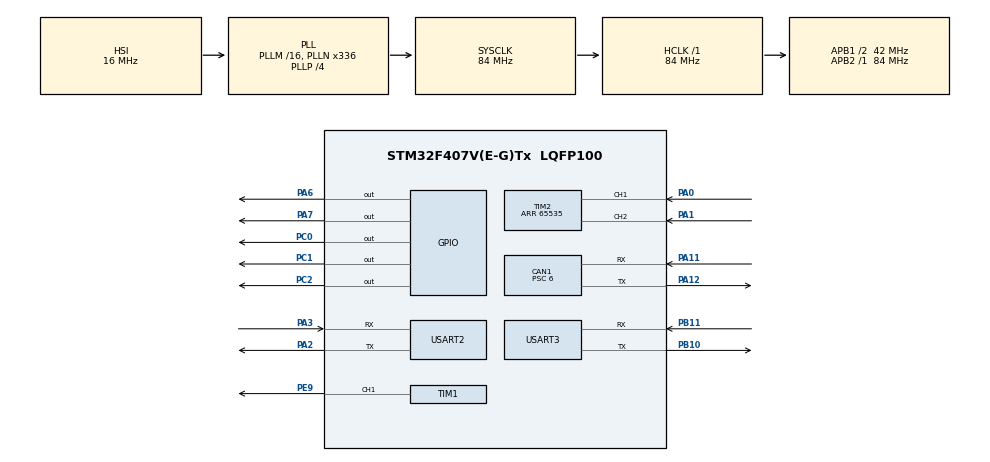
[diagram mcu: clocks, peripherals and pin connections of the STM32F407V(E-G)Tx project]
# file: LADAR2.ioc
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CAN1.ABOM=ENABLE
CAN1.BS1=CAN_BS1_11TQ
CAN1.BS2=CAN_BS2_2TQ
CAN1.CalculateBaudRate=500000
CAN1.CalculateTimeBit=2000
CAN1.CalculateTimeQuantum=142.85714285714286
CAN1.NART=ENABLE
CAN1.Prescaler=6
Dma.Request0=USART2_RX
Dma.Request1=USART2_TX
Dma.USART2_RX.0.Direction=DMA_PERIPH_TO_MEMORY
Dma.USART2_RX.0.FIFOMode=DMA_FIFOMODE_DISABLE
Dma.USART2_RX.0.Instance=DMA1_Stream5
Dma.USART2_RX.0.MemDataAlignment=DMA_MDATAALIGN_BYTE
Dma.USART2_RX.0.MemInc=DMA_MINC_ENABLE
Dma.USART2_RX.0.Mode=DMA_NORMAL
Dma.USART2_RX.0.PeriphDataAlignment=DMA_PDATAALIGN_BYTE
Dma.USART2_RX.0.PeriphInc=DMA_PINC_DISABLE
Dma.USART2_RX.0.Priority=DMA_PRIORITY_LOW
Dma.USART2_TX.1.Direction=DMA_MEMORY_TO_PERIPH
Dma.USART2_TX.1.FIFOMode=DMA_FIFOMODE_DISABLE
Dma.USART2_TX.1.Instance=DMA1_Stream6
Dma.USART2_TX.1.MemDataAlignment=DMA_MDATAALIGN_BYTE
Dma.USART2_TX.1.MemInc=DMA_MINC_ENABLE
Dma.USART2_TX.1.Mode=DMA_NORMAL
Dma.USART2_TX.1.PeriphDataAlignment=DMA_PDATAALIGN_BYTE
Dma.USART2_TX.1.PeriphInc=DMA_PINC_DISABLE
Dma.USART2_TX.1.Priority=DMA_PRIORITY_LOW
FREERTOS.Tasks01=defaultTask,0,128,StartDefaultTask,Default,NULL,Dynamic,NULL,NULL;LidarParseTask,2,1024,LidarParseTask1,Default,NULL,Dynamic,NULL,NULL;MotorCtrlTask,0,128,MotorCtrlTask1,Default,NULL,Dynamic,NULL,NULL;CanTxTask,0,512,CanTxTask1,Default,NULL,Dynamic,NULL,NULL;DiagLogTask,-1,128,DiagLogTask1,Default,NULL,Dynamic,NULL,NULL
Mcu.Family=STM32F4
Mcu.Name=STM32F407V(E-G)Tx
Mcu.Package=LQFP100
NVIC.CAN1_RX0_IRQn=true\:5\:0\:false\:false\:true\:true\:true\:true\:true
NVIC.CAN1_RX1_IRQn=true\:5\:0\:false\:false\:true\:true\:true\:true\:true
NVIC.CAN1_SCE_IRQn=true\:5\:0\:false\:false\:true\:true\:true\:true\:true
NVIC.CAN1_TX_IRQn=true\:5\:0\:false\:false\:true\:true\:true\:true\:true
NVIC.DMA1_Stream5_IRQn=true\:5\:0\:false\:false\:true\:true\:false\:true\:true
NVIC.DMA1_Stream6_IRQn=true\:5\:0\:false\:false\:true\:true\:false\:true\:true
NVIC.PriorityGroup=NVIC_PRIORITYGROUP_4
NVIC.TIM6_DAC_IRQn=true\:15\:0\:false\:false\:true\:false\:false\:true\:true
NVIC.TimeBase=TIM6_DAC_IRQn
NVIC.TimeBaseIP=TIM6
NVIC.USART2_IRQn=true\:5\:0\:false\:false\:true\:true\:true\:true\:true
PA0-WKUP.Signal=S_TIM2_CH1_ETR
PA1.Signal=S_TIM2_CH2
PA11.Mode=CAN_Activate
PA11.Signal=CAN1_RX
PA12.Mode=CAN_Activate
PA12.Signal=CAN1_TX
PA13.Mode=Serial_Wire
PA13.Signal=SYS_JTMS-SWDIO
PA14.Mode=Serial_Wire
PA14.Signal=SYS_JTCK-SWCLK
PA2.Mode=Asynchronous
PA2.Signal=USART2_TX
PA3.Mode=Asynchronous
PA3.Signal=USART2_RX
PA6.Signal=GPIO_Output
PA7.Signal=GPIO_Output
PB10.Mode=Asynchronous
PB10.Signal=USART3_TX
PB11.Mode=Asynchronous
PB11.Signal=USART3_RX
PC0.Signal=GPIO_Output
PC1.Signal=GPIO_Output
PC2.Signal=GPIO_Output
PE9.Signal=S_TIM1_CH1
ProjectManager.HeapSize=0x200
ProjectManager.StackSize=0x400
ProjectManager.TargetToolchain=CMake
RCC.48MHZClocksFreq_Value=84000000
RCC.AHBFreq_Value=84000000
RCC.APB1CLKDivider=RCC_HCLK_DIV2
RCC.APB1Freq_Value=42000000
RCC.APB1TimFreq_Value=84000000
RCC.APB2Freq_Value=84000000
RCC.APB2TimFreq_Value=84000000
RCC.CortexFreq_Value=84000000
RCC.HCLKFreq_Value=84000000
RCC.HSE_VALUE=25000000
RCC.HSI_VALUE=16000000
RCC.LSE_VALUE=32768
RCC.PLLN=336
RCC.PLLP=RCC_PLLP_DIV4
RCC.SYSCLKFreq_VALUE=84000000
RCC.SYSCLKSource=RCC_SYSCLKSOURCE_PLLCLK
RCC.VCOOutputFreq_Value=336000000
SH.S_TIM1_CH1.0=TIM1_CH1,PWM Generation1 CH1
SH.S_TIM2_CH1_ETR.0=TIM2_CH1,Encoder_Interface
SH.S_TIM2_CH2.0=TIM2_CH2,Encoder_Interface
TIM1.Channel-PWM\ Generation1\ CH1=TIM_CHANNEL_1
TIM1.Period=999
TIM1.Prescaler=8
TIM2.EncoderMode=TIM_ENCODERMODE_TI12
TIM2.IC1Filter=8
TIM2.Period=65535
USART2.VirtualMode=VM_ASYNC
USART3.VirtualMode=VM_ASYNC
VP_FREERTOS_VS_CMSIS_V1.Mode=CMSIS_V1
VP_SYS_VS_tim6.Mode=TIM6
board=custom

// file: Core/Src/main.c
/* USER CODE BEGIN Header */
/**
  ******************************************************************************
  * @file           : main.c
  * @brief          : Main program body
  ******************************************************************************
  * @attention
  *
  * Copyright (c) 2026 STMicroelectronics.
  * All rights reserved.
  *
  * This software is licensed under terms that can be found in the LICENSE file
  * in the root directory of this software component.
  * If no LICENSE file comes with this software, it is provided AS-IS.
  *
  ******************************************************************************
  */
/* USER CODE END Header */
#include "main.h"
#include "cmsis_os.h"
#include "can.h"
#include "dma.h"
#include "tim.h"
#include "usart.h"
#include "gpio.h"

/* USER CODE BEGIN Includes */
#include "diag.h"
#include "luna.h"
#include "string.h"
#include "motor.h"
/* USER CODE END Includes */

/* USER CODE BEGIN PTD */
float m1_speed = 0.0f; // 电机1的速度，单位转每秒
QueueHandle_t lidarChunkQueue = NULL;
QueueHandle_t lidarPointQueue = NULL;
volatile uint32_t uart_chunk_drop_cnt = 0;
volatile uint32_t uart_chunk_oversize_cnt = 0;
volatile uint32_t parser_overflow_cnt = 0;
volatile uint32_t lidar_point_drop_cnt = 0;
volatile uint32_t checksum_fail_cnt = 0;
volatile uint32_t amp_low_cnt = 0;
volatile uint32_t too_near_cnt = 0;
volatile uint32_t lidar_chunk_q_hwm = 0;
volatile uint32_t lidar_point_q_hwm = 0;
volatile uint32_t can_last_error_code = 0;
volatile uint32_t can_error_irq_cnt = 0;
volatile uint32_t can_bus_off_cnt = 0;
volatile uint32_t can_recovery_cnt = 0;
volatile uint32_t can_tx_ok_point_cnt = 0;
volatile uint32_t can_tx_fail_point_cnt = 0;
volatile uint32_t can_tx_fail_frame_cnt = 0;
volatile uint32_t luna_frame_ok_cnt = 0;
volatile uint32_t luna_header_skip_cnt;
volatile uint32_t luna_resync_cnt = 0;
uint8_t DMA_luna_buffer[64];
volatile uint32_t encoder_count32_snapshot = 0;
volatile int32_t g_encoder_count32 = 0;
volatile uint16_t g_encoder_last16 = 0;
volatile uint8_t g_encoder_count32_valid = 0;
volatile int32_t g_last_rev_id = 0;
volatile uint32_t g_rev_transition_cnt = 0;
volatile uint8_t g_speed_valid = 0U;
volatile uint32_t g_diag_tick_ms = 0U;
volatile float g_diag_target_speed_rps = 0.0f;
volatile float g_diag_actual_speed_rps = 0.0f;
volatile float g_diag_speed_error_rps = 0.0f;
volatile float g_diag_pwm_trim = 0.0f;
volatile float g_diag_pwm_cmd = 0.0f;
/* USER CODE END PTD */

void SystemClock_Config(void);
void MX_FREERTOS_Init(void);

/* USER CODE BEGIN 0 */
extern TIM_HandleTypeDef htim6;

static uint32_t micros_now(void)
{
  uint32_t ms_before;
  uint32_t ms_after;
  uint32_t us;
  uint32_t update_pending;

  do
  {
    ms_before = HAL_GetTick();
    us = __HAL_TIM_GET_COUNTER(&htim6);
    update_pending = __HAL_TIM_GET_FLAG(&htim6, TIM_FLAG_UPDATE);
    ms_after = HAL_GetTick();
  }
  while (ms_before != ms_after);

  if ((update_pending != 0U) && (us < 1000U))
  {
    ms_before++;
  }

  return (ms_before * 1000U) + us;
}

static int32_t encoder_take_snapshot32(uint16_t curr16)
{
  if (!g_encoder_count32_valid)
  {
    g_encoder_last16 = curr16;
    g_encoder_count32 = (int32_t)curr16;
    g_encoder_count32_valid = 1;
    return g_encoder_count32;
  }

  int16_t delta = (int16_t)(curr16 - g_encoder_last16);
  g_encoder_count32 += (int32_t)delta;
  g_encoder_last16 = curr16;
  return g_encoder_count32;
}
/* USER CODE END 0 */

int main(void)
{

  /* USER CODE BEGIN 1 */
  // uint16_t last_encoder_count = 0;
  // uint32_t last_speed_ms = 0;
  /* USER CODE END 1 */

  /* MCU Configuration--------------------------------------------------------*/

  /* Reset of all peripherals, Initializes the Flash interface and the Systick. */
  HAL_Init();

  /* Configure the system clock */
  SystemClock_Config();

  /* Initialize all configured peripherals */
  MX_GPIO_Init();
  MX_DMA_Init();
  MX_TIM1_Init();
  MX_TIM2_Init();
  MX_USART2_UART_Init();
  MX_USART3_UART_Init();
  MX_CAN1_Init();

  /* Call init function for freertos objects (in cmsis_os2.c) */
  MX_FREERTOS_Init();

  /* Start scheduler */
  osKernelStart();

  /* We should never get here as control is now taken by the scheduler */

  /* Infinite loop */
  while (1)
  {

  }
}

void SystemClock_Config(void)
{
  RCC_OscInitTypeDef RCC_OscInitStruct = {0};
  RCC_ClkInitTypeDef RCC_ClkInitStruct = {0};

  /** Configure the main internal regulator output voltage
  */
  __HAL_RCC_PWR_CLK_ENABLE();
  __HAL_PWR_VOLTAGESCALING_CONFIG(PWR_REGULATOR_VOLTAGE_SCALE1);

  /** Initializes the RCC Oscillators according to the specified parameters
  * in the RCC_OscInitTypeDef structure.
  */
  RCC_OscInitStruct.OscillatorType = RCC_OSCILLATORTYPE_HSI;
  RCC_OscInitStruct.HSIState = RCC_HSI_ON;
  RCC_OscInitStruct.HSICalibrationValue = RCC_HSICALIBRATION_DEFAULT;
  RCC_OscInitStruct.PLL.PLLState = RCC_PLL_ON;
  RCC_OscInitStruct.PLL.PLLSource = RCC_PLLSOURCE_HSI;
  RCC_OscInitStruct.PLL.PLLM = 16;
  RCC_OscInitStruct.PLL.PLLN = 336;
  RCC_OscInitStruct.PLL.PLLP = RCC_PLLP_DIV4;
  RCC_OscInitStruct.PLL.PLLQ = 4;
  if (HAL_RCC_OscConfig(&RCC_OscInitStruct) != HAL_OK)
  {
    Error_Handler();
  }

  /** Initializes the CPU, AHB and APB buses clocks
  */
  RCC_ClkInitStruct.ClockType = RCC_CLOCKTYPE_HCLK|RCC_CLOCKTYPE_SYSCLK
                              |RCC_CLOCKTYPE_PCLK1|RCC_CLOCKTYPE_PCLK2;
  RCC_ClkInitStruct.SYSCLKSource = RCC_SYSCLKSOURCE_PLLCLK;
  RCC_ClkInitStruct.AHBCLKDivider = RCC_SYSCLK_DIV1;
  RCC_ClkInitStruct.APB1CLKDivider = RCC_HCLK_DIV2;
  RCC_ClkInitStruct.APB2CLKDivider = RCC_HCLK_DIV1;

  if (HAL_RCC_ClockConfig(&RCC_ClkInitStruct, FLASH_LATENCY_2) != HAL_OK)
  {
    Error_Handler();
  }
}

/* USER CODE BEGIN 4 */

void HAL_UARTEx_RxEventCallback(UART_HandleTypeDef *huart, uint16_t Size)
{
    if (huart == &huart2)
    {
      BaseType_t xHigherPriorityTaskWoken = pdFALSE;
      LidarChunk chunk = {0};

      uint32_t chunk_time_us = micros_now();
      uint16_t enc16 = (uint16_t)__HAL_TIM_GET_COUNTER(&htim2);
      int32_t enc32 = encoder_take_snapshot32(enc16);

      if (Size > sizeof(chunk.data))
      {
        uart_chunk_oversize_cnt++;
      }
      else
      {
        chunk.luna_chunk_rx_time_us = chunk_time_us;
        chunk.luna_rx_encoder_tick16 = enc16;
        chunk.luna_rx_encoder_count32 = enc32;

        memcpy(chunk.data, DMA_luna_buffer, Size);
        chunk.count = Size;
        chunk.ready = 1;

        if (xQueueSendFromISR(lidarChunkQueue, &chunk, &xHigherPriorityTaskWoken) != pdPASS)
        {
          uart_chunk_drop_cnt++;
        }
        else
        {
          UBaseType_t depth = uxQueueMessagesWaitingFromISR(lidarChunkQueue);
          if ((uint32_t)depth > lidar_chunk_q_hwm)
          {
            lidar_chunk_q_hwm = (uint32_t)depth;
          }
        }

      }

      HAL_UARTEx_ReceiveToIdle_DMA(&huart2, DMA_luna_buffer, sizeof(DMA_luna_buffer));
      portYIELD_FROM_ISR(xHigherPriorityTaskWoken);
    }
}
/* USER CODE END 4 */

void HAL_TIM_PeriodElapsedCallback(TIM_HandleTypeDef *htim)
{
  if (htim->Instance == TIM6)
  {
    HAL_IncTick();
  }
}

void Error_Handler(void)
{
  __disable_irq();
  while (1)
  {
  }
}

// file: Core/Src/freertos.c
/* USER CODE BEGIN Header */
/**
  ******************************************************************************
  * File Name          : freertos.c
  * Description        : Code for freertos applications
  ******************************************************************************
  * @attention
  *
  * Copyright (c) 2026 STMicroelectronics.
  * All rights reserved.
  *
  * This software is licensed under terms that can be found in the LICENSE file
  * in the root directory of this software component.
  * If no LICENSE file comes with this software, it is provided AS-IS.
  *
  ******************************************************************************
  */
/* USER CODE END Header */

#include "FreeRTOS.h"
#include "task.h"
#include "main.h"
#include "cmsis_os.h"

/* USER CODE BEGIN Includes */
#include "diag.h"
#include "luna.h"
#include "string.h"
#include "motor.h"
#include "can.h"
#include "tim.h"
#include "usart.h"
#include "queue.h"
#include <stdio.h>
#include <pid.h>
/* USER CODE END Includes */

/* USER CODE BEGIN PTD */
extern tpid pidMotor1Speed;
extern void CAN_DiagPoll(void);
/* USER CODE END PTD */

osThreadId defaultTaskHandle;
osThreadId LidarParseTaskHandle;
osThreadId MotorCtrlTaskHandle;
osThreadId CanTxTaskHandle;
osThreadId DiagLogTaskHandle;

void StartDefaultTask(void const * argument);
void LidarParseTask1(void const * argument);
void MotorCtrlTask1(void const * argument);
void CanTxTask1(void const * argument);
void DiagLogTask1(void const * argument);

void MX_FREERTOS_Init(void); /* (MISRA C 2004 rule 8.1) */

/* GetIdleTaskMemory prototype (linked to static allocation support) */
void vApplicationGetIdleTaskMemory( StaticTask_t **ppxIdleTaskTCBBuffer, StackType_t **ppxIdleTaskStackBuffer, uint32_t *pulIdleTaskStackSize );

/* USER CODE BEGIN GET_IDLE_TASK_MEMORY */
static StaticTask_t xIdleTaskTCBBuffer;
static StackType_t xIdleStack[configMINIMAL_STACK_SIZE];

void vApplicationGetIdleTaskMemory( StaticTask_t **ppxIdleTaskTCBBuffer, StackType_t **ppxIdleTaskStackBuffer, uint32_t *pulIdleTaskStackSize )
{
  *ppxIdleTaskTCBBuffer = &xIdleTaskTCBBuffer;
  *ppxIdleTaskStackBuffer = &xIdleStack[0];
  *pulIdleTaskStackSize = configMINIMAL_STACK_SIZE;
  /* place for user code */
}
/* USER CODE END GET_IDLE_TASK_MEMORY */

void MX_FREERTOS_Init(void) {
  /* USER CODE BEGIN Init */
  // char msg[64];
  lidarChunkQueue = xQueueCreate(4, sizeof(LidarChunk));
  lidarPointQueue = xQueueCreate(16, sizeof(lidar_point_t));

  HAL_UARTEx_ReceiveToIdle_DMA(&huart2,DMA_luna_buffer,sizeof(DMA_luna_buffer));
  HAL_TIM_PWM_Start(&htim1,TIM_CHANNEL_1);
  HAL_TIM_Encoder_Start(&htim2, TIM_CHANNEL_ALL);
  HAL_GPIO_WritePin(GPIOC, GPIO_PIN_2, GPIO_PIN_SET);

  if (HAL_CAN_Start(&hcan1) != HAL_OK)
  {
    Error_Handler();
  }

  if ( HAL_CAN_ActivateNotification(&hcan1,
        CAN_IT_ERROR |
        CAN_IT_BUSOFF |
        CAN_IT_LAST_ERROR_CODE |
        CAN_IT_ERROR_WARNING |
        CAN_IT_ERROR_PASSIVE) != HAL_OK) {
    Error_Handler();
  }

  /* USER CODE END Init */

  /* Create the thread(s) */
  /* definition and creation of defaultTask */
  osThreadDef(defaultTask, StartDefaultTask, osPriorityNormal, 0, 128);
  defaultTaskHandle = osThreadCreate(osThread(defaultTask), NULL);

  /* definition and creation of LidarParseTask */
  osThreadDef(LidarParseTask, LidarParseTask1, osPriorityHigh, 0, 1024);
  LidarParseTaskHandle = osThreadCreate(osThread(LidarParseTask), NULL);

  /* definition and creation of MotorCtrlTask */
  osThreadDef(MotorCtrlTask, MotorCtrlTask1, osPriorityNormal, 0, 128);
  MotorCtrlTaskHandle = osThreadCreate(osThread(MotorCtrlTask), NULL);

  /* definition and creation of CanTxTask */
  osThreadDef(CanTxTask, CanTxTask1, osPriorityNormal, 0, 512);
  CanTxTaskHandle = osThreadCreate(osThread(CanTxTask), NULL);

  /* definition and creation of DiagLogTask */
  osThreadDef(DiagLogTask, DiagLogTask1, osPriorityBelowNormal, 0, 512);
  DiagLogTaskHandle = osThreadCreate(osThread(DiagLogTask), NULL);

}

void StartDefaultTask(void const * argument)
{
  /* USER CODE BEGIN StartDefaultTask */
  /* Infinite loop */
  for(;;)
  {
    CAN_DiagPoll();
    osDelay(1);
  }
  /* USER CODE END StartDefaultTask */
}

void LidarParseTask1(void const * argument)
{
  /* USER CODE BEGIN LidarParseTask1 */
  /* Infinite loop */
  LidarChunk local_chunk;
  uint8_t parser_buffer[64];
  uint8_t parser_buffer_len = 0 ;
  for(;;)
  {

    if (xQueueReceive(lidarChunkQueue, &local_chunk, portMAX_DELAY) == pdPASS)
      {
      if (parser_buffer_len + local_chunk.count <= sizeof(parser_buffer))
      {
        uint16_t chunk_start_index = parser_buffer_len;
        memcpy(&parser_buffer[parser_buffer_len],local_chunk.data,local_chunk.count);
        parser_buffer_len += local_chunk.count ;
        uint16_t a = luna_input(parser_buffer,parser_buffer_len,chunk_start_index,&local_chunk,m1_speed);
        if (a > 0)
        {
          uint16_t left_bytes = parser_buffer_len - a ;
          if (left_bytes > 0)
          {
            memmove(&parser_buffer[0], &parser_buffer[a], left_bytes);
          }
          parser_buffer_len = left_bytes;
        }
      }
      else
      {
        parser_overflow_cnt++;
        parser_buffer_len = 0;
      }
    }
    osDelay(1);
  }
  /* USER CODE END LidarParseTask1 */
}

void MotorCtrlTask1(void const * argument)
{
  /* USER CODE BEGIN MotorCtrlTask1 */
  /* Infinite loop */
  PID_init();
  uint16_t last_encoder_count = 0;
  uint32_t last_speed_ms = 0;
  uint16_t current_encoder_count = 0;
  uint8_t speed_update_cnt = 0;
  const uint32_t control_period_ms = 50U;
  const uint32_t counts_per_rev = (uint32_t)(ENC_PPR * GEAR_RATIO * 4.0f);
  const uint32_t reverse_interval_counts = 1U * counts_per_rev;
  const float target_speed_abs_rps = 0.15f;
  const float reverse_resume_speed_rps = 0.015f;
  const uint32_t reverse_ramp_ms = 1200U;
  const float startup_pwm = 220.0f;
  const float base_pwm = 430.0f;
  uint32_t segment_travel_count = 0U;
  uint32_t dir_resume_ms = 0U;
  int32_t scan_dir = 1;
  uint8_t reverse_pending = 0U;

  pidMotor1Speed.target_val = target_speed_abs_rps;
  last_encoder_count = (uint16_t)__HAL_TIM_GET_COUNTER(&htim2);
  last_speed_ms = HAL_GetTick();
  dir_resume_ms = last_speed_ms;

  for(;;)
    {
    uint32_t now_ms = HAL_GetTick();
    uint32_t elapsed_ms = now_ms - last_speed_ms;
    if (elapsed_ms >= control_period_ms)
    {
      current_encoder_count = (uint16_t)__HAL_TIM_GET_COUNTER(&htim2);
      int16_t delta_count = (int16_t)(current_encoder_count - last_encoder_count);
      uint32_t delta_abs = (delta_count >= 0) ? (uint32_t)delta_count : (uint32_t)(-delta_count);
      float dt_s = (float)elapsed_ms / 1000.0f;
      float rev1 = (float)delta_count / (ENC_PPR * GEAR_RATIO * 4.0f);

      if (elapsed_ms > 0)
      {
        m1_speed = rev1 / dt_s;

        if (delta_count != 0)
        {
          if (speed_update_cnt < 3U)
          {
            speed_update_cnt++;
          }
        }
        else
        {
          if (g_speed_valid == 0U)
          {
            speed_update_cnt = 0U;
          }
        }
        if (speed_update_cnt >= 2U)
        {
          g_speed_valid = 1U;
        }
      }

      float m1_speed_ctrl = -m1_speed;
      float trim = 0.0f;
      float pwm_cmd = 0.0f;

      if (reverse_pending == 0U)
      {
        float target_scale = 1.0f;
        uint32_t run_elapsed_ms = now_ms - dir_resume_ms;

        if (run_elapsed_ms < reverse_ramp_ms)
        {
          target_scale = (float)run_elapsed_ms / (float)reverse_ramp_ms;
        }

        segment_travel_count += delta_abs;
        pidMotor1Speed.target_val = (float)scan_dir * target_speed_abs_rps * target_scale;

        if (segment_travel_count >= reverse_interval_counts)
        {
          reverse_pending = 1U;
          pidMotor1Speed.target_val = 0.0f;
          PID_Reset(&pidMotor1Speed);
        }
      }

      if (reverse_pending != 0U)
      {
        float actual_speed_abs = (m1_speed_ctrl >= 0.0f) ? m1_speed_ctrl : -m1_speed_ctrl;

        pwm_cmd = 0.0f;

        if (actual_speed_abs <= reverse_resume_speed_rps)
        {
          scan_dir = -scan_dir;
          segment_travel_count = 0U;
          reverse_pending = 0U;
          dir_resume_ms = now_ms;
          PID_Reset(&pidMotor1Speed);
          pidMotor1Speed.target_val = 0.0f;
        }
      }

      if (reverse_pending == 0U)
      {
        float target_scale = 1.0f;
        float commanded_base_pwm = base_pwm;
        uint32_t run_elapsed_ms = now_ms - dir_resume_ms;

        if (run_elapsed_ms < reverse_ramp_ms)
        {
          target_scale = (float)run_elapsed_ms / (float)reverse_ramp_ms;

          commanded_base_pwm = startup_pwm + ((base_pwm - startup_pwm) * target_scale);
          pidMotor1Speed.target_val = (float)scan_dir * target_speed_abs_rps * target_scale;
        }

        trim = PID_realize(&pidMotor1Speed, m1_speed_ctrl, dt_s);
        pwm_cmd = ((float)scan_dir * commanded_base_pwm) + trim;
      }

      if (pwm_cmd < -999.0f) pwm_cmd = -999.0f;
      if (pwm_cmd > 999.0f) pwm_cmd = 999.0f;

      g_diag_tick_ms = now_ms;
      g_diag_target_speed_rps = pidMotor1Speed.target_val;
      g_diag_actual_speed_rps = m1_speed_ctrl;
      g_diag_speed_error_rps = pidMotor1Speed.err;
      g_diag_pwm_trim = trim;
      g_diag_pwm_cmd = pwm_cmd;

      Motor_Set((int)pwm_cmd);

    last_encoder_count = current_encoder_count;
    last_speed_ms = now_ms;
    }
      osDelay(10);
    }
  /* USER CODE END MotorCtrlTask1 */
}

void CanTxTask1(void const * argument)
{
  /* USER CODE BEGIN CanTxTask1 */
    /* Infinite loop */
  lidar_point_t point_rx;
    for(;;)
    {
    if (xQueueReceive(lidarPointQueue, &point_rx, portMAX_DELAY) == pdPASS)
      {
        CAN_TxHeaderTypeDef pHeader;
        uint8_t txData[8];
        uint32_t pTxMailbox;
        if (LIDAR_SendCAN(&hcan1, &pHeader, txData, &pTxMailbox, &point_rx) != HAL_OK ) {
          can_tx_fail_point_cnt++;
        }
        else {
          can_tx_ok_point_cnt++;
        }
      }

      osDelay(1);
    }
  /* USER CODE END CanTxTask1 */
}

void DiagLogTask1(void const * argument)
{
  /* USER CODE BEGIN DiagLogTask1 */
  uint8_t header_sent = 0U;
  static char tx_line[320];
  static const char csv_header[] ="tick_ms,lidar_chunk_q_depth,lidar_chunk_q_hwm,uart_chunk_drop_cnt,uart_chunk_oversize_cnt,parser_overflow_cnt,checksum_fail_cnt,amp_low_cnt,too_near_cnt,lidar_point_q_depth,lidar_point_q_hwm,lidar_point_drop_cnt,can_tx_ok_point_cnt,can_tx_fail_point_cnt,can_tx_fail_frame_cnt,can_last_error_code,can_error_irq_cnt,can_bus_off_cnt,can_recovery_cnt\r\n";

  for(;;) {
    if (header_sent == 0U)
    {
      HAL_UART_Transmit(&huart3, (uint8_t *)csv_header, (uint16_t)strlen(csv_header), 100U);
      header_sent = 1U;
    }

      uint32_t tick_ms = HAL_GetTick();

      uint32_t lidar_chunk_q_depth_snapshot =
          (uint32_t)uxQueueMessagesWaiting(lidarChunkQueue);
      uint32_t lidar_chunk_q_hwm_snapshot = lidar_chunk_q_hwm;
      uint32_t uart_chunk_drop_snapshot = uart_chunk_drop_cnt;
      uint32_t uart_chunk_oversize_snapshot = uart_chunk_oversize_cnt;
      uint32_t parser_overflow_snapshot = parser_overflow_cnt;

      uint32_t checksum_fail_snapshot = checksum_fail_cnt;
      uint32_t amp_low_snapshot = amp_low_cnt;
      uint32_t too_near_snapshot = too_near_cnt;

      uint32_t lidar_point_q_depth_snapshot = (uint32_t)uxQueueMessagesWaiting(lidarPointQueue);
      uint32_t lidar_point_q_hwm_snapshot = lidar_point_q_hwm;
      uint32_t lidar_point_drop_snapshot = lidar_point_drop_cnt;

      uint32_t can_tx_ok_point_snapshot = can_tx_ok_point_cnt;
      uint32_t can_tx_fail_point_snapshot = can_tx_fail_point_cnt;
      uint32_t can_tx_fail_frame_snapshot = can_tx_fail_frame_cnt;

      uint32_t can_last_error_snapshot = can_last_error_code;
      uint32_t can_error_irq_snapshot = can_error_irq_cnt;
      uint32_t can_bus_off_snapshot = can_bus_off_cnt;
      uint32_t can_recovery_snapshot = can_recovery_cnt;

      int len = snprintf(
        tx_line,
        sizeof(tx_line),
        "%lu,%lu,%lu,%lu,%lu,%lu,%lu,%lu,%lu,%lu,%lu,%lu,%lu,%lu,%lu,0x%08lX,%lu,%lu,%lu\r\n",
        (unsigned long)tick_ms,
        (unsigned long)lidar_chunk_q_depth_snapshot,
        (unsigned long)lidar_chunk_q_hwm_snapshot,
        (unsigned long)uart_chunk_drop_snapshot,
        (unsigned long)uart_chunk_oversize_snapshot,
        (unsigned long)parser_overflow_snapshot,
        (unsigned long)checksum_fail_snapshot,
        (unsigned long)amp_low_snapshot,
        (unsigned long)too_near_snapshot,
        (unsigned long)lidar_point_q_depth_snapshot,
        (unsigned long)lidar_point_q_hwm_snapshot,
        (unsigned long)lidar_point_drop_snapshot,
        (unsigned long)can_tx_ok_point_snapshot,
        (unsigned long)can_tx_fail_point_snapshot,
        (unsigned long)can_tx_fail_frame_snapshot,
        (unsigned long)can_last_error_snapshot,
        (unsigned long)can_error_irq_snapshot,
        (unsigned long)can_bus_off_snapshot,
        (unsigned long)can_recovery_snapshot);

      if (len > 0)
      {
        HAL_UART_Transmit(&huart3, (uint8_t *)tx_line, (uint16_t)len, 100U);
      }
    osDelay(1000);
  }
  /* USER CODE END DiagLogTask1 */
}
